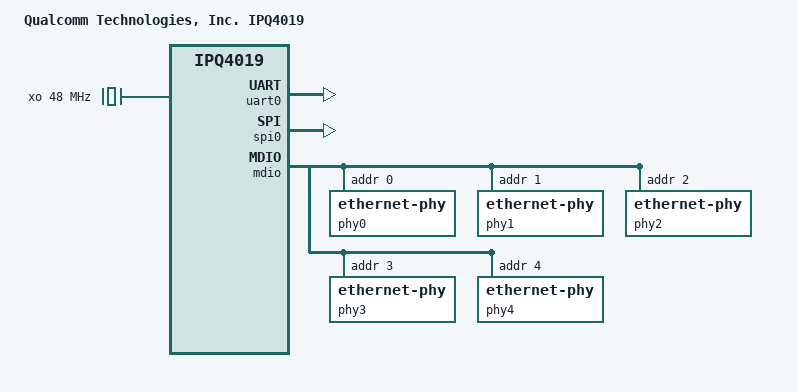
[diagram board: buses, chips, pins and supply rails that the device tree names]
/dts-v1/;

#include <dt-bindings/clock/qcom,gcc-ipq4019.h>
#include <dt-bindings/interrupt-controller/arm-gic.h>

/ {
	#address-cells = <1>;
	#size-cells = <1>;
	model = "Qualcomm Technologies, Inc. IPQ4019";
	compatible = "qcom,ipq4019";
	interrupt-parent = <&intc>;

	chosen {
		stdout-path = &uart0;
		tick-timer = &timer;
	};

	memory {
		device_type = "memory";
		reg = <0 0>;
	};

	clocks {
		sleep_clk: sleep_clk {
			compatible = "fixed-clock";
			clock-frequency = <32000>;
			#clock-cells = <0>;
		};

		xo: xo {
			compatible = "fixed-clock";
			clock-frequency = <48000000>;
			#clock-cells = <0>;
		};
	};

	soc {
		#address-cells = <1>;
		#size-cells = <1>;
		ranges;
		compatible = "simple-bus";

		intc: interrupt-controller@b000000 {
			compatible = "qcom,msm-qgic2";
			interrupt-controller;
			#interrupt-cells = <3>;
			reg = <0x0b000000 0x1000>,
			      <0x0b002000 0x1000>;
		};

		gcc: clock-controller@1800000 {
			compatible = "qcom,gcc-ipq4019";
			#clock-cells = <1>;
			#reset-cells = <1>;
			reg = <0x1800000 0x60000>;
			clocks = <&xo>, <&sleep_clk>;
			clock-names = "xo", "sleep_clk";
		};

		tlmm: pinctrl@0x01000000 {
			compatible = "qcom,ipq4019-pinctrl";
			reg = <0x01000000 0x300000>;
			gpio-controller;
			#gpio-cells = <2>;
			interrupt-controller;
			#interrupt-cells = <2>;
			interrupts = <0 208 0>;
		};

		timer: timer {
			compatible = "arm,armv7-timer";
			interrupts = <GIC_PPI 2 (GIC_CPU_MASK_SIMPLE(1) | IRQ_TYPE_LEVEL_LOW)>,
			             <GIC_PPI 3 (GIC_CPU_MASK_SIMPLE(1) | IRQ_TYPE_LEVEL_LOW)>,
			             <GIC_PPI 4 (GIC_CPU_MASK_SIMPLE(1) | IRQ_TYPE_LEVEL_LOW)>,
			             <GIC_PPI 1 (GIC_CPU_MASK_SIMPLE(1) | IRQ_TYPE_LEVEL_LOW)>;
			clock-frequency = <48000000>;
			always-on;
		};

		restart@4ab000 {
			compatible = "qcom,pshold";
			reg = <0x4ab000 0x4>;
		};

		uart0: serial@78af000 {
			compatible = "qcom,msm-uartdm-v1.4", "qcom,msm-uartdm";
			reg = <0x78af000 0x200>;
			interrupts = <GIC_SPI 107 IRQ_TYPE_LEVEL_HIGH>;
			clocks = <&gcc GCC_BLSP1_UART1_APPS_CLK>,
			         <&gcc GCC_BLSP1_AHB_CLK>;
			clock-names = "core", "iface";
		};

		spi0: spi@78b5000 {
			#address-cells = <1>;
			#size-cells = <0>;
			compatible = "qcom,spi-qup-v2.2.1";
			reg = <0x78b5000 0x600>;
			interrupts = <GIC_SPI 95 IRQ_TYPE_LEVEL_HIGH>;
			clocks = <&gcc GCC_BLSP1_QUP1_SPI_APPS_CLK>,
			         <&gcc GCC_BLSP1_AHB_CLK>;
			clock-names = "core", "iface";
		};

		mdio: mdio@90000 {
			#address-cells = <1>;
			#size-cells = <0>;
			compatible = "qcom,ipq4019-mdio";
			reg = <0x90000 0x64>;

			phy0: ethernet-phy@0 {
				reg = <0>;
			};

			phy1: ethernet-phy@1 {
				reg = <1>;
			};

			phy2: ethernet-phy@2 {
				reg = <2>;
			};

			phy3: ethernet-phy@3 {
				reg = <3>;
			};

			phy4: ethernet-phy@4 {
				reg = <4>;
			};
		};
	};
};
